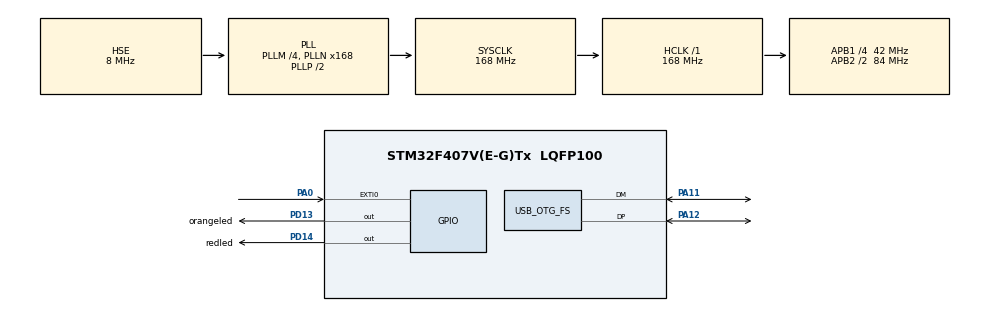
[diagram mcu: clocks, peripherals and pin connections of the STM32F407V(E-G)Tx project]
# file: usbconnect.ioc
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Mcu.Family=STM32F4
Mcu.Name=STM32F407V(E-G)Tx
Mcu.Package=LQFP100
NVIC.EXTI0_IRQn=true\:0\:0\:false\:false\:true\:true\:true\:true
NVIC.OTG_FS_IRQn=true\:0\:0\:false\:false\:true\:false\:true\:true
NVIC.PriorityGroup=NVIC_PRIORITYGROUP_0
PA0-WKUP.GPIO_ModeDefaultEXTI=GPIO_MODE_IT_RISING_FALLING
PA0-WKUP.Signal=GPXTI0
PA11.Mode=Device_Only
PA11.Signal=USB_OTG_FS_DM
PA12.Mode=Device_Only
PA12.Signal=USB_OTG_FS_DP
PA13.Mode=Trace_Asynchronous_SW
PA13.Signal=SYS_JTMS-SWDIO
PA14.Mode=Trace_Asynchronous_SW
PA14.Signal=SYS_JTCK-SWCLK
PB3.Mode=Trace_Asynchronous_SW
PB3.Signal=SYS_JTDO-SWO
PD13.GPIO_Label=orangeled
PD13.Signal=GPIO_Output
PD14.GPIO_Label=redled
PD14.Signal=GPIO_Output
PH0-OSC_IN.Mode=HSE-External-Oscillator
PH0-OSC_IN.Signal=RCC_OSC_IN
PH1-OSC_OUT.Mode=HSE-External-Oscillator
PH1-OSC_OUT.Signal=RCC_OSC_OUT
ProjectManager.HeapSize=0x200
ProjectManager.StackSize=0x400
ProjectManager.TargetToolchain=STM32CubeIDE
RCC.48MHZClocksFreq_Value=48000000
RCC.AHBFreq_Value=168000000
RCC.APB1CLKDivider=RCC_HCLK_DIV4
RCC.APB1Freq_Value=42000000
RCC.APB1TimFreq_Value=84000000
RCC.APB2CLKDivider=RCC_HCLK_DIV2
RCC.APB2Freq_Value=84000000
RCC.APB2TimFreq_Value=168000000
RCC.CortexFreq_Value=168000000
RCC.HCLKFreq_Value=168000000
RCC.HSE_VALUE=8000000
RCC.HSI_VALUE=16000000
RCC.LSE_VALUE=32768
RCC.PLLM=4
RCC.PLLN=168
RCC.PLLQ=7
RCC.SYSCLKFreq_VALUE=168000000
RCC.SYSCLKSource=RCC_SYSCLKSOURCE_PLLCLK
RCC.VCOOutputFreq_Value=336000000
USB_DEVICE.CLASS_NAME_FS=CDC
USB_DEVICE.VirtualMode-CDC_FS=Cdc
USB_DEVICE.VirtualModeFS=Cdc_FS
USB_OTG_FS.VirtualMode=Device_Only
VP_TIM6_VS_ClockSourceINT.Mode=Enable_Timer
VP_USB_DEVICE_VS_USB_DEVICE_CDC_FS.Mode=CDC_FS
board=STM32F407G-DISC1

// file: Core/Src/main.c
/* USER CODE BEGIN Header */
/**
  ******************************************************************************
  * @file           : main.c
  * @brief          : Main program body
  ******************************************************************************
  * @attention
  *
  * Copyright (c) 2022 STMicroelectronics.
  * All rights reserved.
  *
  * This software is licensed under terms that can be found in the LICENSE file
  * in the root directory of this software component.
  * If no LICENSE file comes with this software, it is provided AS-IS.
  *
  ******************************************************************************
  */
/* USER CODE END Header */
#include "main.h"
#include "usb_device.h"

/* USER CODE BEGIN Includes */
#include "usbd_cdc_if.h"
#include "string.h"
 uint8_t charbuff[64];
  uint8_t externbuffer[64];
  uint16_t flag=0;

/* USER CODE END Includes */

TIM_HandleTypeDef htim6;

void SystemClock_Config(void);
static void MX_GPIO_Init(void);
static void MX_TIM6_Init(void);
/* USER CODE BEGIN PFP */
int inerruptcount=0;
/* USER CODE END PFP */

int main(void)
{

  /* MCU Configuration--------------------------------------------------------*/

  /* Reset of all peripherals, Initializes the Flash interface and the Systick. */
  HAL_Init();

  /* Configure the system clock */
  SystemClock_Config();

  /* Initialize all configured peripherals */
  MX_GPIO_Init();
  MX_USB_DEVICE_Init();
  MX_TIM6_Init();
  /* USER CODE BEGIN 2 */
  CDC_Transmit_FS("hello", strlen("hello"));
  /* USER CODE END 2 */

  /* Infinite loop */
  /* USER CODE BEGIN WHILE */
  while (1)
  {
	  //CDC_Transmit_FS("Don't set aslı's pin", strlen("Don't set aslı's pin"));
	 // HAL_Delay(100);
    /* USER CODE END WHILE */

    /* USER CODE BEGIN 3 */
	  if (flag==1)
	  {
		  flag=0;
		  if (!strcmp(externbuffer,"orangeon"))
		  {
			HAL_GPIO_WritePin(orangeled_GPIO_Port, orangeled_Pin, 1   );

		  }
		  if (!strcmp(externbuffer,"orangeof"))
		  		  {
		  			HAL_GPIO_WritePin(orangeled_GPIO_Port, orangeled_Pin, 0  );

		  		  }
		  if (!strcmp(externbuffer,"redof"))
		 		  		  {
		 		  			HAL_GPIO_WritePin(redled_GPIO_Port, redled_Pin, 0  );

		 		  		  }
		  if (!strcmp(externbuffer,"redon"))
		  		 		  		  {
		  		 		  			HAL_GPIO_WritePin(redled_GPIO_Port, redled_Pin, 1  );

		  		 		  		  }
	  }
  }
  /* USER CODE END 3 */
}

void SystemClock_Config(void)
{
  RCC_OscInitTypeDef RCC_OscInitStruct = {0};
  RCC_ClkInitTypeDef RCC_ClkInitStruct = {0};

  /** Configure the main internal regulator output voltage
  */
  __HAL_RCC_PWR_CLK_ENABLE();
  __HAL_PWR_VOLTAGESCALING_CONFIG(PWR_REGULATOR_VOLTAGE_SCALE1);

  /** Initializes the RCC Oscillators according to the specified parameters
  * in the RCC_OscInitTypeDef structure.
  */
  RCC_OscInitStruct.OscillatorType = RCC_OSCILLATORTYPE_HSE;
  RCC_OscInitStruct.HSEState = RCC_HSE_ON;
  RCC_OscInitStruct.PLL.PLLState = RCC_PLL_ON;
  RCC_OscInitStruct.PLL.PLLSource = RCC_PLLSOURCE_HSE;
  RCC_OscInitStruct.PLL.PLLM = 4;
  RCC_OscInitStruct.PLL.PLLN = 168;
  RCC_OscInitStruct.PLL.PLLP = RCC_PLLP_DIV2;
  RCC_OscInitStruct.PLL.PLLQ = 7;
  if (HAL_RCC_OscConfig(&RCC_OscInitStruct) != HAL_OK)
  {
    Error_Handler();
  }

  /** Initializes the CPU, AHB and APB buses clocks
  */
  RCC_ClkInitStruct.ClockType = RCC_CLOCKTYPE_HCLK|RCC_CLOCKTYPE_SYSCLK
                              |RCC_CLOCKTYPE_PCLK1|RCC_CLOCKTYPE_PCLK2;
  RCC_ClkInitStruct.SYSCLKSource = RCC_SYSCLKSOURCE_PLLCLK;
  RCC_ClkInitStruct.AHBCLKDivider = RCC_SYSCLK_DIV1;
  RCC_ClkInitStruct.APB1CLKDivider = RCC_HCLK_DIV4;
  RCC_ClkInitStruct.APB2CLKDivider = RCC_HCLK_DIV2;

  if (HAL_RCC_ClockConfig(&RCC_ClkInitStruct, FLASH_LATENCY_5) != HAL_OK)
  {
    Error_Handler();
  }
}

static void MX_TIM6_Init(void)
{

  TIM_MasterConfigTypeDef sMasterConfig = {0};

  htim6.Instance = TIM6;
  htim6.Init.Prescaler = 0;
  htim6.Init.CounterMode = TIM_COUNTERMODE_UP;
  htim6.Init.Period = 65535;
  htim6.Init.AutoReloadPreload = TIM_AUTORELOAD_PRELOAD_DISABLE;
  if (HAL_TIM_Base_Init(&htim6) != HAL_OK)
  {
    Error_Handler();
  }
  sMasterConfig.MasterOutputTrigger = TIM_TRGO_RESET;
  sMasterConfig.MasterSlaveMode = TIM_MASTERSLAVEMODE_DISABLE;
  if (HAL_TIMEx_MasterConfigSynchronization(&htim6, &sMasterConfig) != HAL_OK)
  {
    Error_Handler();
  }

}

static void MX_GPIO_Init(void)
{
  GPIO_InitTypeDef GPIO_InitStruct = {0};

  /* GPIO Ports Clock Enable */
  __HAL_RCC_GPIOH_CLK_ENABLE();
  __HAL_RCC_GPIOA_CLK_ENABLE();
  __HAL_RCC_GPIOD_CLK_ENABLE();
  __HAL_RCC_GPIOB_CLK_ENABLE();

  /*Configure GPIO pin Output Level */
  HAL_GPIO_WritePin(GPIOD, orangeled_Pin|redled_Pin, GPIO_PIN_RESET);

  /*Configure GPIO pin : PA0 */
  GPIO_InitStruct.Pin = GPIO_PIN_0;
  GPIO_InitStruct.Mode = GPIO_MODE_IT_RISING_FALLING;
  GPIO_InitStruct.Pull = GPIO_NOPULL;
  HAL_GPIO_Init(GPIOA, &GPIO_InitStruct);

  /*Configure GPIO pins : orangeled_Pin redled_Pin */
  GPIO_InitStruct.Pin = orangeled_Pin|redled_Pin;
  GPIO_InitStruct.Mode = GPIO_MODE_OUTPUT_PP;
  GPIO_InitStruct.Pull = GPIO_NOPULL;
  GPIO_InitStruct.Speed = GPIO_SPEED_FREQ_LOW;
  HAL_GPIO_Init(GPIOD, &GPIO_InitStruct);

  /* EXTI interrupt init*/
  HAL_NVIC_SetPriority(EXTI0_IRQn, 0, 0);
  HAL_NVIC_EnableIRQ(EXTI0_IRQn);

}

/* USER CODE BEGIN 4 */
void HAL_GPIO_EXTI_Callback(uint16_t GPIO_Pin)
{
	inerruptcount ++;
 if (GPIO_Pin==GPIO_PIN_0)
 {
	 if (HAL_GPIO_ReadPin(GPIOA,GPIO_PIN_0 )== 1)
	 {
		 TIM6->CNT=0;
		HAL_TIM_Base_Start(&htim6);

	 }// button pres
	 if (HAL_GPIO_ReadPin(GPIOA,GPIO_PIN_0 )== 0)
	 	 {
		 HAL_TIM_Base_Stop(&htim6);

		 int count= TIM6->CNT;

        snprintf(charbuff,sizeof(charbuff),"count=%d\n",count);
		CDC_Transmit_FS(charbuff, strlen(charbuff));

	 	 }// button up
 }//if pin 0
}

/* USER CODE END 4 */

void Error_Handler(void)
{
  __disable_irq();
  while (1)
  {
  }
}
